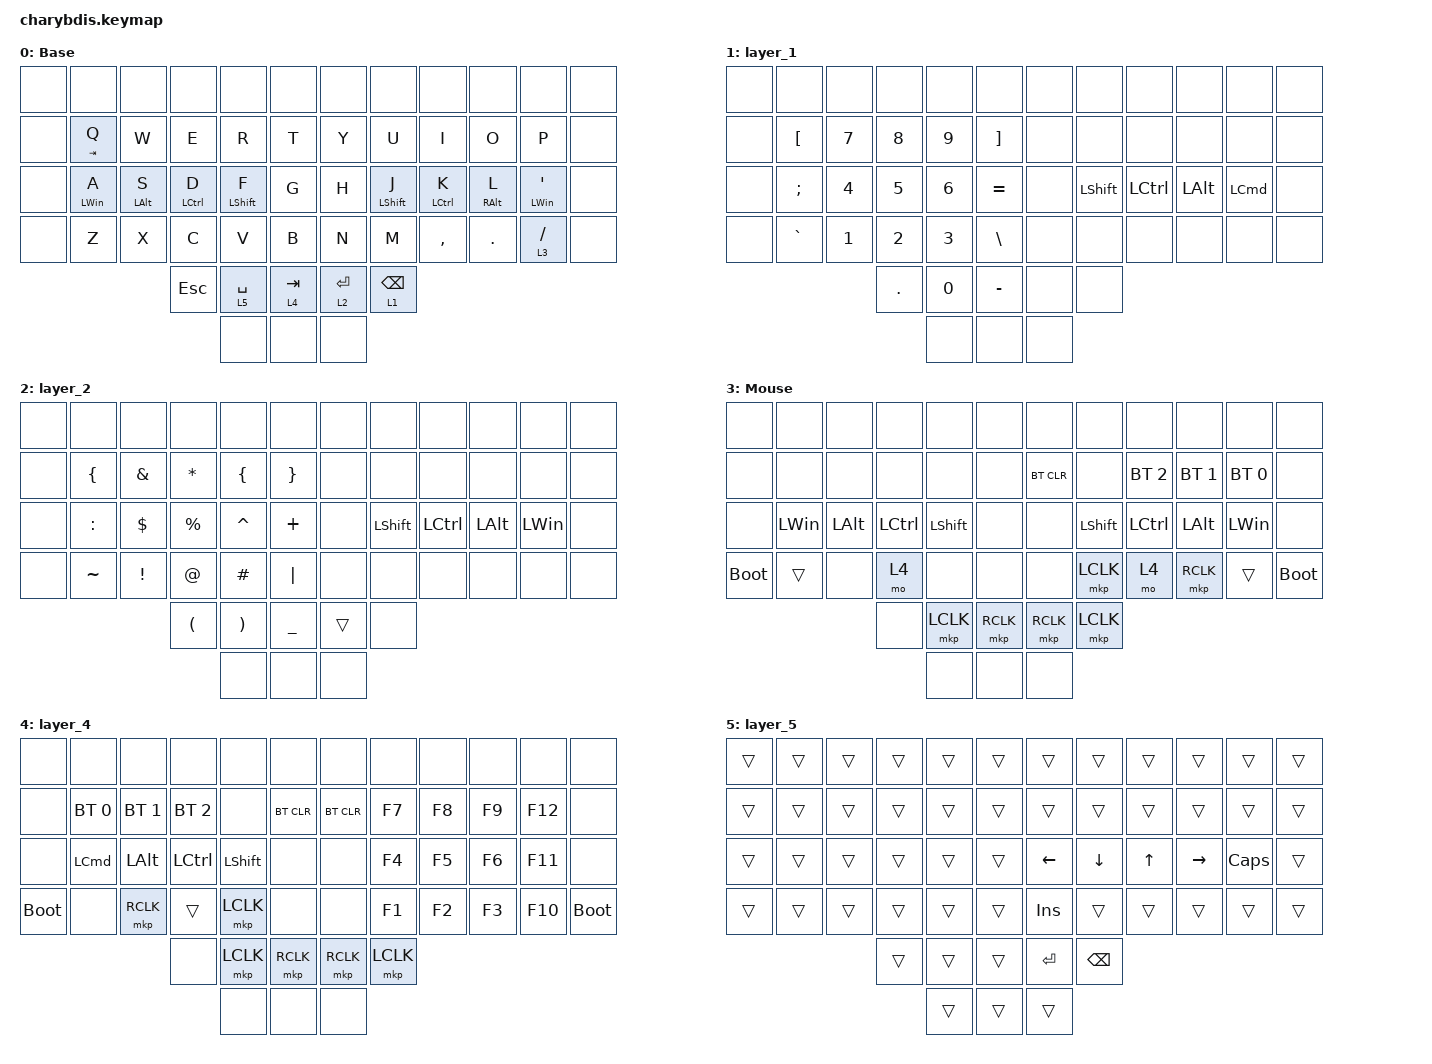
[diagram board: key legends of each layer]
#include <dt-bindings/zmk/mouse.h>
#include <behaviors.dtsi>
#include <dt-bindings/zmk/bt.h>
#include <dt-bindings/zmk/keys.h>
#include <dt-bindings/zmk/pointing.h>

&lt {
    tapping-term-ms = <200>;
    flavor = "balanced";
    quick-tap-ms = <150>;
};

/ {
    combos { compatible = "zmk,combos"; };

    keymap {
        compatible = "zmk,keymap";

        Base {
            bindings = <
&none  &none       &none           &none        &none        &none        &none        &none        &none        &none            &none                  &none
&none  &mt TAB Q   &kp W           &kp E        &kp R        &kp T        &kp Y        &kp U        &kp I        &kp O            &kp P                  &none
&none  &mt LWIN A  &mt LEFT_ALT S  &mt LCTRL D  &mt LSHFT F  &kp G        &kp H        &mt LSHFT J  &mt LCTRL K  &mt RIGHT_ALT L  &mt LWIN SINGLE_QUOTE  &none
&none  &kp Z       &kp X           &kp C        &kp V        &kp B        &kp N        &kp M        &kp COMMA    &kp DOT          &lt 3 SLASH            &none
                                   &kp ESCAPE   &lt 5 SPACE  &lt 4 TAB    &lt 2 ENTER  &lt 1 BSPC
                                                &none        &none        &none
            >;
        };

        layer_1 {
            bindings = <
&none  &none             &none         &none         &none         &none                &none  &none      &none      &none         &none     &none
&none  &kp LEFT_BRACKET  &kp N7        &kp N8        &kp N9        &kp RIGHT_BRACKET    &none  &none      &none      &none         &none     &none
&none  &kp SEMICOLON     &kp NUMBER_4  &kp N5        &kp NUMBER_6  &kp EQUAL            &none  &kp LSHFT  &kp LCTRL  &kp LEFT_ALT  &kp LCMD  &none
&none  &kp GRAVE         &kp NUMBER_1  &kp NUMBER_2  &kp NUMBER_3  &kp BACKSLASH        &none  &none      &none      &none         &none     &none
                                       &kp PERIOD    &kp N0        &kp MINUS            &none  &none
                                                     &none         &none                &none
            >;
        };

        layer_2 {
            bindings = <
&none  &none           &none       &none                 &none                  &none              &none   &none      &none      &none         &none     &none
&none  &kp LEFT_BRACE  &kp AMPS    &kp ASTERISK          &kp LEFT_BRACE         &kp RIGHT_BRACE    &none   &none      &none      &none         &none     &none
&none  &kp COLON       &kp DOLLAR  &kp PERCENT           &kp CARET              &kp PLUS           &none   &kp LSHFT  &kp LCTRL  &kp LEFT_ALT  &kp LWIN  &none
&none  &kp TILDE       &kp EXCL    &kp AT                &kp HASH               &kp PIPE           &none   &none      &none      &none         &none     &none
                                   &kp LEFT_PARENTHESIS  &kp RIGHT_PARENTHESIS  &kp UNDERSCORE     &trans  &none
                                                         &none                  &none              &none
            >;
        };

        Mouse {
            bindings = <
&none        &none     &none         &none      &none      &none        &none       &none      &none         &none         &none         &none
&none        &none     &none         &none      &none      &none        &bt BT_CLR  &none      &bt BT_SEL 2  &bt BT_SEL 1  &bt BT_SEL 0  &none
&none        &kp LWIN  &kp LEFT_ALT  &kp LCTRL  &kp LSHFT  &none        &none       &kp LSHFT  &kp LCTRL     &kp LEFT_ALT  &kp LWIN      &none
&bootloader  &trans    &none         &mo 4      &none      &none        &none       &mkp LCLK  &mo 4         &mkp RCLK     &trans        &bootloader
                                     &none      &mkp LCLK  &mkp RCLK    &mkp RCLK   &mkp LCLK
                                                &none      &none        &none
            >;
        };

        layer_4 {
            bindings = <
&none        &none         &none         &none         &none      &none         &none       &none      &none   &none   &none    &none
&none        &bt BT_SEL 0  &bt BT_SEL 1  &bt BT_SEL 2  &none      &bt BT_CLR    &bt BT_CLR  &kp F7     &kp F8  &kp F9  &kp F12  &none
&none        &kp LCMD      &kp LEFT_ALT  &kp LCTRL     &kp LSHFT  &none         &none       &kp F4     &kp F5  &kp F6  &kp F11  &none
&bootloader  &none         &mkp RCLK     &trans        &mkp LCLK  &none         &none       &kp F1     &kp F2  &kp F3  &kp F10  &bootloader
                                         &none         &mkp LCLK  &mkp RCLK     &mkp RCLK   &mkp LCLK
                                                       &none      &none         &none
            >;
        };

        layer_5 {
            bindings = <
&trans  &trans  &trans  &trans  &trans  &trans    &trans     &trans    &trans  &trans     &trans        &trans
&trans  &trans  &trans  &trans  &trans  &trans    &trans     &trans    &trans  &trans     &trans        &trans
&trans  &trans  &trans  &trans  &trans  &trans    &kp LEFT   &kp DOWN  &kp UP  &kp RIGHT  &kp CAPSLOCK  &trans
&trans  &trans  &trans  &trans  &trans  &trans    &kp INS    &trans    &trans  &trans     &trans        &trans
                        &trans  &trans  &trans    &kp ENTER  &kp BSPC
                                &trans  &trans    &trans
            >;
        };
    };
};
